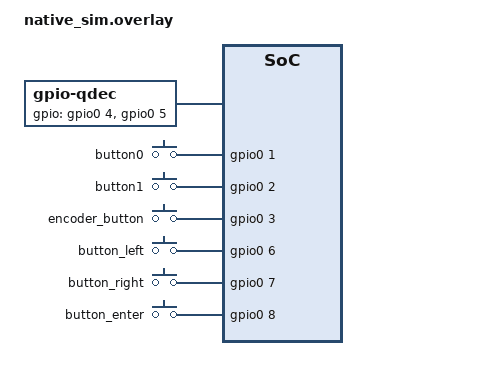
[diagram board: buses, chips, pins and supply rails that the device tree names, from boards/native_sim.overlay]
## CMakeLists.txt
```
# SPDX-License-Identifier: Apache-2.0

cmake_minimum_required(VERSION 3.20.0)

find_package(Zephyr REQUIRED HINTS $ENV{ZEPHYR_BASE})
project(lvgl)

# Include all C source files from src directory
file(GLOB_RECURSE app_sources 
    src/*.c
)

# Add all source files to the app target
target_sources(app PRIVATE ${app_sources})

# Include directories for headers
target_include_directories(app PRIVATE 
    src
)
```

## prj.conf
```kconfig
CONFIG_LV_Z_MEM_POOL_SIZE=16384
CONFIG_LV_Z_SHELL=y
CONFIG_MAIN_STACK_SIZE=4096

CONFIG_DISPLAY=y
CONFIG_DISPLAY_LOG_LEVEL_ERR=y

CONFIG_LOG=y
CONFIG_CBPRINTF_FP_SUPPORT=y
CONFIG_SHELL=y

CONFIG_LVGL=y
CONFIG_LV_USE_LOG=y
CONFIG_LV_USE_LABEL=y
CONFIG_LV_USE_ARC=y
CONFIG_LV_USE_MONKEY=y
CONFIG_LV_FONT_MONTSERRAT_14=y

CONFIG_ZBUS=y
```

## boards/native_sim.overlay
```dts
/*
 * Copyright (c) 2022, Basalte bv
 *
 * SPDX-License-Identifier: Apache-2.0
 */

#include <zephyr/dt-bindings/input/input-event-codes.h>
#include <zephyr/dt-bindings/lvgl/lvgl.h>

/ {
	aliases {
		sw0 = &button0;
	};

	qdec {
		compatible = "gpio-qdec";
		gpios = <&gpio0 4 GPIO_ACTIVE_HIGH>, <&gpio0 5 GPIO_ACTIVE_HIGH>;
		steps-per-period = <4>;
		zephyr,axis = <INPUT_REL_WHEEL>;
		sample-time-us = <2000>;
		idle-timeout-ms = <200>;
	};

	keys: keys {
		compatible = "gpio-keys";
		button0: button0 {
			/* gpio0 pin 0 is already aliased to led0 */
			gpios = <&gpio0 1 GPIO_ACTIVE_HIGH>;
			zephyr,code = <INPUT_KEY_R>;
		};

		button1: button1 {
			gpios = <&gpio0 2 GPIO_ACTIVE_HIGH>;
			zephyr,code = <INPUT_KEY_B>;
		};

		encoder_button: encoder_button {
			gpios = <&gpio0 3 GPIO_ACTIVE_HIGH>;
			zephyr,code = <INPUT_KEY_0>;
		};

		button_left: button_left {
			gpios = <&gpio0 6 GPIO_ACTIVE_HIGH>;
			zephyr,code = <INPUT_KEY_LEFT>;
		};

		button_right: button_right {
			gpios = <&gpio0 7 GPIO_ACTIVE_HIGH>;
			zephyr,code = <INPUT_KEY_RIGHT>;
		};

		button_enter: button_enter {
			gpios = <&gpio0 8 GPIO_ACTIVE_HIGH>;
			zephyr,code = <INPUT_KEY_ENTER>;
		};
	};

	lvgl_button_input {
		compatible = "zephyr,lvgl-button-input";
		input = <&keys>;
		input-codes = <INPUT_KEY_B>;
		coordinates = <160 120>;
	};

	lvgl_encoder_input {
		compatible = "zephyr,lvgl-encoder-input";
		rotation-input-code = <INPUT_REL_WHEEL>;
		button-input-code = <INPUT_KEY_0>;
	};

	lvgl_keypad_input {
		compatible = "zephyr,lvgl-keypad-input";
		input = <&keys>;
		input-codes = <INPUT_KEY_LEFT INPUT_KEY_RIGHT INPUT_KEY_ENTER>;
		lvgl-codes = <LV_KEY_LEFT LV_KEY_RIGHT LV_KEY_ENTER>;
	};
};

&gpio0 {
	ngpios = <9>;

	sdl_gpio {
		status = "okay";
		compatible = "zephyr,gpio-emul-sdl";
		/* Skip pin 0 with the unknown code 0 */
		scancodes = <0 21 5 30 31 32 80 79 40>;
	};
};

&sdl_dc {
	width = <336>;
	height = <536>;
};
```

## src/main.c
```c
#include <zephyr/kernel.h>
#include <zephyr/drivers/display.h>
#include <lvgl.h>
#include <string.h>

int main(void)
{
    const struct device *display;
    lv_obj_t *hello_label;

    display = DEVICE_DT_GET(DT_CHOSEN(zephyr_display));
    if (!device_is_ready(display)) {
        printk("Error: display not ready\r\n");
        return 0;
    }

    hello_label = lv_label_create(lv_scr_act());
    lv_label_set_text(hello_label, "Hello, World!");
    lv_obj_align(hello_label, LV_ALIGN_TOP_MID, 0, 5);

    display_blanking_off(display);

    while (1) {
        lv_task_handler();

        k_msleep(50);
    }
}
```

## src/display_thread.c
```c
#include "zbus_channel.h"
#include <zephyr/zbus/zbus.h>
#include <zephyr/logging/log.h>

LOG_MODULE_REGISTER(display_thread, LOG_LEVEL_INF);

ZBUS_CHAN_DECLARE(sensor_chan);

// Define a subscriber observer
ZBUS_SUBSCRIBER_DEFINE(sensor_data_subscriber, 4);

// Add the subscriber to the sensor channel
ZBUS_CHAN_ADD_OBS(sensor_chan, sensor_data_subscriber, 0);

void subscriber_task(void)
{
    const struct zbus_channel *chan;

    while (1) {
        if (!zbus_sub_wait(&sensor_data_subscriber, &chan, K_FOREVER)) {
            if (chan == &sensor_chan) {
                struct sensor_msg_t sensor_msg;
                if (zbus_chan_read(chan, &sensor_msg, K_MSEC(100)) == 0) {
                    LOG_INF("From subscriber -> Sensor type=%d, channel=%d, data=%.2f",
                            sensor_msg.sensor_type, sensor_msg.channel, (double)sensor_msg.data);
                }
            }
        }
    }
}

K_THREAD_DEFINE(subscriber_task_id, 512, subscriber_task, NULL, NULL, NULL, 3, 0, 0);
```

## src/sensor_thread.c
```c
#include "zbus_channel.h"
#include <zephyr/kernel.h>
#include <zephyr/zbus/zbus.h>
#include <zephyr/logging/log.h>

LOG_MODULE_REGISTER(sensor_thread, LOG_LEVEL_INF);

ZBUS_CHAN_DECLARE(sensor_chan);

static const char* get_sensor_type_name(sensor_type_t type) {
    switch (type) {
        case SENSOR_TYPE_TEMPERATURE: return "Temperature";
        case SENSOR_TYPE_PRESSURE: return "Pressure";
        case SENSOR_TYPE_HUMIDITY: return "Humidity";
        case SENSOR_TYPE_ACCELERATION: return "Acceleration";
        case SENSOR_TYPE_GYROSCOPE: return "Gyroscope";
        default: return "Unknown";
    }
}

static void generate_sensor_data(struct sensor_msg_t *msg, int iteration) {
    // Cycle through sensor types       
    msg->sensor_type = (sensor_type_t)(iteration % 5);
    msg->channel = iteration % 3; // Assume 3 channels per sensor type

    // Generate dummy data based on sensor type
    switch (msg->sensor_type) {
        case SENSOR_TYPE_TEMPERATURE:
            msg->data = 20.0f + (iteration % 10); // 20.0 to 29.0
            break;
        case SENSOR_TYPE_PRESSURE:
            msg->data = 1000.0f + (iteration % 50); // 1000.0 to 1049.0
            break;
        case SENSOR_TYPE_HUMIDITY:
            msg->data = 30.0f + (iteration % 70); // 30.0 to 99.0
            break;
        case SENSOR_TYPE_ACCELERATION:
            msg->data = (float)(iteration % 16) - 8.0f; // -8.0 to +7.0
            break;
        case SENSOR_TYPE_GYROSCOPE:
            msg->data = (float)(iteration % 360); // 0 to 359 degrees
            break;
        default:
            msg->data = 0.0f;
            break;
    }
}

void sensor_publisher_thread(void *arg1, void *arg2, void *arg3) {
    ARG_UNUSED(arg1);
    ARG_UNUSED(arg2);
    ARG_UNUSED(arg3);
    
    struct sensor_msg_t msg;
    int iteration = 0;
    int ret;
    
    LOG_INF("Sensor publisher thread started");
    
    while (1) {
        generate_sensor_data(&msg, iteration);
        
        // Publish the message via Zbus
        ret = zbus_chan_pub(&sensor_chan, &msg, K_MSEC(100));
        if (ret < 0) {
            LOG_ERR("Failed to publish sensor message: %d", ret);
        } else {
            LOG_INF("Published: %s sensor, channel %d, data: %.2f",
                    get_sensor_type_name(msg.sensor_type),
                    msg.channel,
                    (double)msg.data);
        }
        
        iteration++;
        
        k_sleep(K_SECONDS(2));
    }
}

K_THREAD_DEFINE(sensor_publisher_thread_id, 512, sensor_publisher_thread, NULL, NULL, NULL, 3, 0, 0);
```

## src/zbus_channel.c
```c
#include <zephyr/zbus/zbus.h>
#include "zbus_channel.h"

ZBUS_CHAN_DEFINE(sensor_chan,
        struct sensor_msg_t,
        NULL,
        NULL,
        ZBUS_OBSERVERS_EMPTY,
        ZBUS_MSG_INIT({0})
);
```

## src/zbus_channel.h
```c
typedef enum {
    SENSOR_TYPE_TEMPERATURE,
    SENSOR_TYPE_PRESSURE,
    SENSOR_TYPE_HUMIDITY,
    SENSOR_TYPE_ACCELERATION,
    SENSOR_TYPE_GYROSCOPE,
} sensor_type_t;

struct sensor_msg_t {
    float data;
    sensor_type_t sensor_type;
    int channel;
};
```
